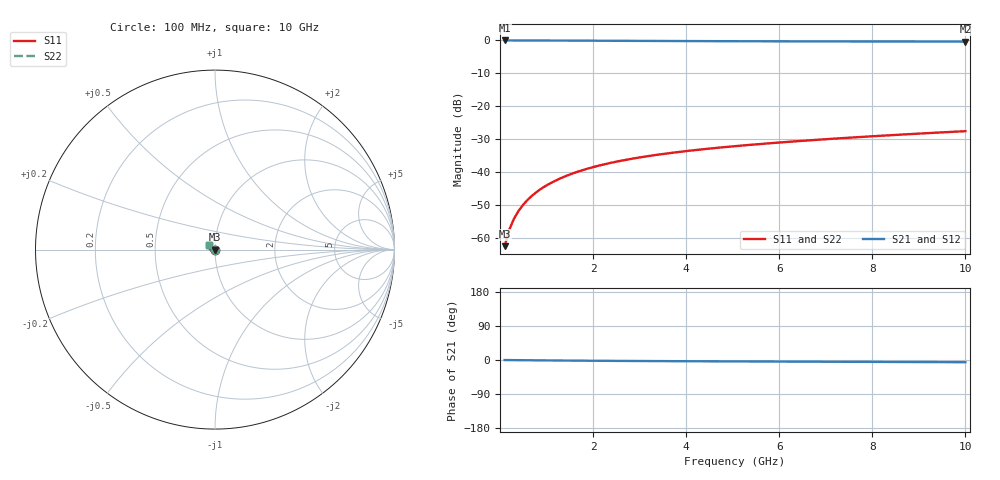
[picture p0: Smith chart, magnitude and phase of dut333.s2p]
! Touchstone file exported from HFSS 2024.1.0
!  File:  C:/UserFiles/LocalFiles/RDL_TSV_Batchsim/temp_TSV1_333_1779618038.aedt
!  Generated:  06:30:19 PM May 24, 2026
!  Design:  TSV1
!  Project:  temp_TSV1_333_1779618038
!  Setup:  Setup1
!  Solution:  Sweep
! Variables:
!  dtsv = 5.95um
!  hbump = 3um
!  htsv = 86.69um
!  lrdl = 252.1521522um
!  p = 40
!  p1 = 51.23um
!  t = 500um
!  trdl = 3um
!  wrdl = 24.89489489um
# GHz S MA R 50.000000
! Terminal data exported
! Port[1] = TSV22_T1
! Port[2] = TSV22_T2
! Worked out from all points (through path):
!   100 points, 100 MHz to 10 GHz, reference 50 ohm
!   highest |S21| = 0.00 dB at 100 MHz (marker M1); lowest = -0.4 dB at 10 GHz (marker M2)
!   lowest |S11| = -62.4 dB at 100 MHz (marker M3), VSWR 1.00, Z = 50 - j0.0651 ohm
!   |S11| at or under -10 dB: start of sweep to end of sweep
!   |S22| runs from -62.4 to -27.5 dB; largest |S21 - S12| = 3.1e-15
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0.1  0.0007615 -58.7  0.9995 -0.1  0.9995 -0.1  0.0007615 -58.7
! Gamma 0 0 0 0
! Port Impedance 50 0 50 0
0.2  0.001353 -76.2  0.9995 -0.2  0.9995 -0.2  0.001353 -76.2
0.3  0.001977 -84.4  0.9993 -0.3  0.9993 -0.3  0.001977 -84.4
0.4  0.002609 -89.7  0.9991 -0.4  0.9991 -0.4  0.002609 -89.7
0.5  0.003241 -93.8  0.9989 -0.6  0.9989 -0.6  0.003241 -93.8
0.6  0.00387 -97.3  0.9986 -0.7  0.9986 -0.7  0.00387 -97.3
0.7  0.004497 -100.4  0.9983 -0.8  0.9983 -0.8  0.004497 -100.4
0.8  0.005118 -103.3  0.9979 -0.9  0.9979 -0.9  0.005118 -103.3
0.9  0.005734 -106.0  0.9975 -1.0  0.9975 -1.0  0.005734 -106.0
1.1  0.006947 -111.1  0.9966 -1.2  0.9966 -1.2  0.006947 -111.1
1.4  0.008711 -118.2  0.9949 -1.5  0.9949 -1.5  0.008711 -118.2
1.6  0.009845 -122.7  0.9937 -1.6  0.9937 -1.6  0.009845 -122.7
1.8  0.01094 -126.9  0.9924 -1.8  0.9924 -1.8  0.01094 -126.9
2.1  0.01253 -133.0  0.9904 -2.1  0.9904 -2.1  0.01253 -133.0
2.5  0.01452 -140.7  0.9877 -2.4  0.9877 -2.4  0.01452 -140.7
2.9  0.01639 -147.7  0.9849 -2.6  0.9849 -2.6  0.01639 -147.7
3.4  0.01857 -155.8  0.9817 -2.9  0.9817 -2.9  0.01857 -155.8
4.2  0.02179 -167.3  0.9771 -3.3  0.9771 -3.3  0.02179 -167.3
5.1  0.02515 -178.3  0.9727 -3.8  0.9727 -3.8  0.02515 -178.3
6.7  0.03079 166.0  0.967 -4.5  0.967 -4.5  0.03079 166.0
8.4  0.03663 153.3  0.9629 -5.2  0.9629 -5.2  0.03663 153.3
10  0.04214 144.0  0.9601 -5.8  0.9601 -5.8  0.04214 144.0
